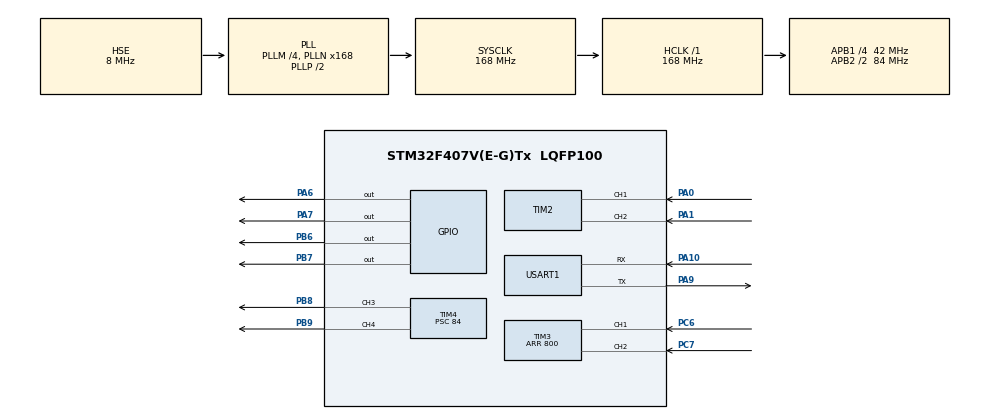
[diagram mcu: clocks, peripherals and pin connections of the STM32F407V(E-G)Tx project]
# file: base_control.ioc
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Dma.Request0=USART1_RX
Dma.Request1=USART1_TX
Dma.USART1_RX.0.Direction=DMA_PERIPH_TO_MEMORY
Dma.USART1_RX.0.FIFOMode=DMA_FIFOMODE_DISABLE
Dma.USART1_RX.0.Instance=DMA2_Stream2
Dma.USART1_RX.0.MemDataAlignment=DMA_MDATAALIGN_BYTE
Dma.USART1_RX.0.MemInc=DMA_MINC_ENABLE
Dma.USART1_RX.0.Mode=DMA_NORMAL
Dma.USART1_RX.0.PeriphDataAlignment=DMA_PDATAALIGN_BYTE
Dma.USART1_RX.0.PeriphInc=DMA_PINC_DISABLE
Dma.USART1_RX.0.Priority=DMA_PRIORITY_LOW
Dma.USART1_TX.1.Direction=DMA_MEMORY_TO_PERIPH
Dma.USART1_TX.1.FIFOMode=DMA_FIFOMODE_DISABLE
Dma.USART1_TX.1.Instance=DMA2_Stream7
Dma.USART1_TX.1.MemDataAlignment=DMA_MDATAALIGN_BYTE
Dma.USART1_TX.1.MemInc=DMA_MINC_ENABLE
Dma.USART1_TX.1.Mode=DMA_NORMAL
Dma.USART1_TX.1.PeriphDataAlignment=DMA_PDATAALIGN_BYTE
Dma.USART1_TX.1.PeriphInc=DMA_PINC_DISABLE
Dma.USART1_TX.1.Priority=DMA_PRIORITY_LOW
Mcu.Family=STM32F4
Mcu.Name=STM32F407V(E-G)Tx
Mcu.Package=LQFP100
NVIC.DMA2_Stream2_IRQn=true\:0\:0\:false\:false\:true\:false\:true
NVIC.DMA2_Stream7_IRQn=true\:0\:0\:false\:false\:true\:false\:true
NVIC.PriorityGroup=NVIC_PRIORITYGROUP_4
NVIC.TIM4_IRQn=true\:0\:0\:false\:false\:true\:true\:true
NVIC.TIM5_IRQn=true\:0\:0\:false\:false\:true\:true\:true
NVIC.USART1_IRQn=true\:0\:0\:false\:false\:true\:true\:true
PA0-WKUP.GPIO_PuPd=GPIO_PULLUP
PA0-WKUP.Signal=S_TIM2_CH1_ETR
PA1.GPIO_PuPd=GPIO_PULLUP
PA1.Signal=S_TIM2_CH2
PA10.Mode=Asynchronous
PA10.Signal=USART1_RX
PA6.GPIO_ModeDefaultOutputPP=GPIO_MODE_OUTPUT_PP
PA6.Signal=GPIO_Output
PA7.GPIO_ModeDefaultOutputPP=GPIO_MODE_OUTPUT_PP
PA7.PinState=GPIO_PIN_RESET
PA7.Signal=GPIO_Output
PA9.Mode=Asynchronous
PA9.Signal=USART1_TX
PB6.GPIO_ModeDefaultOutputPP=GPIO_MODE_OUTPUT_PP
PB6.PinState=GPIO_PIN_RESET
PB6.Signal=GPIO_Output
PB7.GPIO_ModeDefaultOutputPP=GPIO_MODE_OUTPUT_PP
PB7.PinState=GPIO_PIN_RESET
PB7.Signal=GPIO_Output
PB8.GPIO_ModeDefaultPP=GPIO_MODE_AF_PP
PB8.Signal=S_TIM4_CH3
PB9.GPIO_ModeDefaultPP=GPIO_MODE_AF_PP
PB9.Signal=S_TIM4_CH4
PC14-OSC32_IN.Mode=LSE-External-Oscillator
PC14-OSC32_IN.Signal=RCC_OSC32_IN
PC15-OSC32_OUT.Mode=LSE-External-Oscillator
PC15-OSC32_OUT.Signal=RCC_OSC32_OUT
PC6.GPIO_PuPd=GPIO_PULLUP
PC6.Signal=S_TIM3_CH1
PC7.GPIO_PuPd=GPIO_PULLUP
PC7.Signal=S_TIM3_CH2
PH0-OSC_IN.Mode=HSE-External-Oscillator
PH0-OSC_IN.Signal=RCC_OSC_IN
PH1-OSC_OUT.Mode=HSE-External-Oscillator
PH1-OSC_OUT.Signal=RCC_OSC_OUT
ProjectManager.HeapSize=0x200
ProjectManager.StackSize=0x400
ProjectManager.TargetToolchain=Makefile
RCC.48MHZClocksFreq_Value=84000000
RCC.AHBFreq_Value=168000000
RCC.APB1CLKDivider=RCC_HCLK_DIV4
RCC.APB1Freq_Value=42000000
RCC.APB1TimFreq_Value=84000000
RCC.APB2CLKDivider=RCC_HCLK_DIV2
RCC.APB2Freq_Value=84000000
RCC.APB2TimFreq_Value=168000000
RCC.CortexFreq_Value=168000000
RCC.HCLKFreq_Value=168000000
RCC.HSE_VALUE=8000000
RCC.HSI_VALUE=16000000
RCC.PLLM=4
RCC.PLLN=168
RCC.PLLSourceVirtual=RCC_PLLSOURCE_HSE
RCC.SYSCLKFreq_VALUE=168000000
RCC.SYSCLKSource=RCC_SYSCLKSOURCE_PLLCLK
RCC.VCOOutputFreq_Value=336000000
SH.S_TIM2_CH1_ETR.0=TIM2_CH1,Encoder_Interface
SH.S_TIM2_CH2.0=TIM2_CH2,Encoder_Interface
SH.S_TIM3_CH1.0=TIM3_CH1,Encoder_Interface
SH.S_TIM3_CH2.0=TIM3_CH2,Encoder_Interface
SH.S_TIM4_CH3.0=TIM4_CH3,PWM Generation3 CH3
SH.S_TIM4_CH4.0=TIM4_CH4,PWM Generation4 CH4
TIM2.EncoderMode=TIM_ENCODERMODE_TI12
TIM3.EncoderMode=TIM_ENCODERMODE_TI12
TIM3.IC1Filter=10
TIM3.IC2Filter=10
TIM3.Period=800
TIM4.AutoReloadPreload=TIM_AUTORELOAD_PRELOAD_DISABLE
TIM4.Channel-PWM\ Generation3\ CH3=TIM_CHANNEL_3
TIM4.Channel-PWM\ Generation4\ CH4=TIM_CHANNEL_4
TIM4.Period=100
TIM4.Prescaler=84
TIM4.Pulse-PWM\ Generation3\ CH3=0
TIM5.Period=100
TIM5.Prescaler=8400
USART1.VirtualMode=VM_ASYNC
VP_TIM4_VS_ClockSourceINT.Mode=Internal
VP_TIM5_VS_ClockSourceINT.Mode=Internal
board=custom

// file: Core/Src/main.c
/* USER CODE BEGIN tail */
/**
  ******************************************************************************
  * @file           : main.c
  * @brief          : Main program body
  ******************************************************************************
  * @attention
  *
  * <h2><center>&copy; Copyright (c) 2021 STMicroelectronics.
  * All rights reserved.</center></h2>
  *
  * This software component is licensed by ST under BSD 3-Clause license,
  * the "License"; You may not use this file except in compliance with the
  * License. You may obtain a copy of the License at:
  *                        opensource.org/licenses/BSD-3-Clause
  *
  ******************************************************************************
  */
/* USER CODE END tail */
#include "main.h"
#include "dma.h"
#include "tim.h"
#include "usart.h"
#include "gpio.h"

/* USER CODE BEGIN Includes */
#include <stdio.h>
#include <string.h>
#include "stm32f4xx_it.h"
#include "stm32f4xx_hal_def.h"
#include "PID.h"
#include "config.h"
#include "frame_resolve.h"
#include "retarget.h"
/* USER CODE END Includes */

/* USER CODE BEGIN PD */
#define FALSE   0
#define TRUE    1

#define DEBUG
/* USER CODE END PD */

/* USER CODE BEGIN PV */

// Arrays
uint8_t MSG[500] = "Init";
uint8_t linear_a[100] = "\n";
uint8_t angular_a[100] = "\n";
uint8_t rx_buffer[RX_BUFFER_SIZE];
uint8_t tx_buffer[TX_BUFFER_SIZE];
uint8_t data[8];
uint8_t prev_rx, last_rx;
// Cross processes values

#ifdef TEST_HARDWARE
volatile uint16_t cnt = 0;
volatile uint16_t last_cnt = 0;
volatile double enc_cnt = 0.0f;
volatile double last_enc_cnt = 0.0f;
#endif

volatile double right_set_speed = 0.0f; // RPM
volatile double left_set_speed = 0.0f; // RPM

#ifdef ENABLE_PID
/* PID Init Variables */

volatile uint32_t *RIGHT_DUTY_ADDR = &(TIM4->CCR3);
volatile uint32_t *RIGHT_ENCODER_ADDR = &(TIM3->CNT);

double right_pid_params[3] = {RIGHT_MOTOR_KP , RIGHT_MOTOR_KI, RIGHT_MOTOR_KD};
double left_pid_params[3] = {LEFT_MOTOR_KP , LEFT_MOTOR_KI, LEFT_MOTOR_KD};

// Custom typedef
MOTOR_TypeDef str_right_motor;
PID_TypeDef str_right_pid;
MOTOR_TypeDef str_left_motor;
PID_TypeDef str_left_pid;

#endif
/* Other definitions*/
uint8_t ready_flag = FALSE;
volatile uint8_t    vel_update_flag = FALSE;
float linear_vel;
float angular_vel;
float last_l_vel, last_a_vel;

/* USER CODE END PV */

void SystemClock_Config(void);
/* USER CODE BEGIN PFP */
void dma_rx_cplt(void);
void dma_rx_half_cplt(void);
/* USER CODE END PFP */

int main(void)
{

  /* MCU Configuration--------------------------------------------------------*/

  /* Reset of all peripherals, Initializes the Flash interface and the Systick. */
  HAL_Init();

  /* Configure the system clock */
  SystemClock_Config();

  /* Initialize all configured peripherals */
  MX_GPIO_Init();
  MX_DMA_Init();
  MX_USART1_UART_Init();
  MX_TIM4_Init();
  MX_TIM3_Init();
  MX_TIM5_Init();
  MX_TIM2_Init();
  /* USER CODE BEGIN 2 */
  RetargetInit(&huart1);
  HAL_UART_Receive_DMA(&huart1, rx_buffer, 1);

  #ifdef ENABLE_PID

  PID_MotorInit(&str_right_motor, &str_right_pid, GPIOB, GPIO_PIN_6 , GPIO_PIN_7, 100.0f, 10.0f, &(TIM3->CNT), &(TIM4->CCR3), right_pid_params);
  PID_MotorInit(&str_left_motor, &str_left_pid, GPIOA, GPIO_PIN_6 , GPIO_PIN_7, 100.0f, 10.0f, &(TIM2->CNT), &(TIM4->CCR4), left_pid_params);

  // Start Timer4 for PWM function on channel 3 and channel 4
  HAL_TIM_PWM_Start(&htim4, TIM_CHANNEL_3);
  HAL_TIM_PWM_Start(&htim4, TIM_CHANNEL_4);

  // Reset PWM Duty Cycle to zero on TIM 4 output channel 3 and channel 4
  __HAL_TIM_SET_COMPARE(&htim4, TIM_CHANNEL_3, 0);
  __HAL_TIM_SET_COMPARE(&htim4, TIM_CHANNEL_4, 0);

  // Start Timer3 for RIGHT Encoder Interfacing.
  HAL_TIM_Encoder_Start(&htim3, TIM_CHANNEL_ALL);
  // Start Timer2 for LEFT Encoder Interfacing.
  HAL_TIM_Encoder_Start(&htim2, TIM_CHANNEL_ALL);

  // Start Timer5 for sampling loop interrupt
  HAL_TIM_Base_Start_IT(&htim5);

  #endif

  // Last update time in tick
  uint32_t last_update = 0;
  /* USER CODE END 2 */

  /* Infinite loop */
  while (1)
  {

    /* USER CODE BEGIN 3 */

    if (vel_update_flag)
    {
        resolveRxFrame(rx_buffer, &linear_vel, &angular_vel);

        // Convert from M/S to RPM
        left_set_speed = ( linear_vel - angular_vel*ROBOT_WHEEL_BASE/2 ) * 60/ ( PI * ROBOT_WHEEL_DIAMETER );
        right_set_speed = ( linear_vel + angular_vel*ROBOT_WHEEL_BASE/2) * 60/ ( PI * ROBOT_WHEEL_DIAMETER );

        #ifdef DEBUG
        if (linear_vel != last_l_vel || angular_vel != last_a_vel)
        {
            sprintf((char *)MSG, "R: %.5f | L: %.5f \n", right_set_speed, left_set_speed);
            HAL_UART_Transmit_DMA(&huart1 ,MSG, sizeof(MSG));
        }
        // HAL_GPIO_TogglePin(GPIOA,GPIO_PIN_6);
        #endif

        last_a_vel = angular_vel;
        last_l_vel = linear_vel;
        vel_update_flag = FALSE;
        last_update = HAL_GetTick();
    }
    // else
    // {
    //     // If update timeout: 2 seconds
    //     // Reset speed to avoid overcontrol
    //     if ( (HAL_GetTick() - last_update > COMMAND_TIMEOUT_MS) && (angular_vel != 0 || linear_vel !=0) )
    //     {
    //         angular_vel = 0;
    //         linear_vel = 0;
    //         #ifdef DEBUG
    //         // printf("Vel : %.5f  | %.5f \n", linear_vel, angular_vel);
    //         // sprintf((char *)MSG, "L: %.5f | A: %.5f \n", linear_vel, angular_vel);
    //         // HAL_UART_Transmit_DMA(&huart1 ,MSG, sizeof(MSG));
    //         #endif
    //     }
    // }
    // HAL_Delay(100);
  }
  /* USER CODE END 3 */
}

void SystemClock_Config(void)
{
  RCC_OscInitTypeDef RCC_OscInitStruct = {0};
  RCC_ClkInitTypeDef RCC_ClkInitStruct = {0};

  /** Configure the main internal regulator output voltage
  */
  __HAL_RCC_PWR_CLK_ENABLE();
  __HAL_PWR_VOLTAGESCALING_CONFIG(PWR_REGULATOR_VOLTAGE_SCALE1);
  /** Initializes the RCC Oscillators according to the specified parameters
  * in the RCC_OscInitTypeDef structure.
  */
  RCC_OscInitStruct.OscillatorType = RCC_OSCILLATORTYPE_HSE;
  RCC_OscInitStruct.HSEState = RCC_HSE_ON;
  RCC_OscInitStruct.PLL.PLLState = RCC_PLL_ON;
  RCC_OscInitStruct.PLL.PLLSource = RCC_PLLSOURCE_HSE;
  RCC_OscInitStruct.PLL.PLLM = 4;
  RCC_OscInitStruct.PLL.PLLN = 168;
  RCC_OscInitStruct.PLL.PLLP = RCC_PLLP_DIV2;
  RCC_OscInitStruct.PLL.PLLQ = 4;
  if (HAL_RCC_OscConfig(&RCC_OscInitStruct) != HAL_OK)
  {
    Error_Handler();
  }
  /** Initializes the CPU, AHB and APB buses clocks
  */
  RCC_ClkInitStruct.ClockType = RCC_CLOCKTYPE_HCLK|RCC_CLOCKTYPE_SYSCLK
                              |RCC_CLOCKTYPE_PCLK1|RCC_CLOCKTYPE_PCLK2;
  RCC_ClkInitStruct.SYSCLKSource = RCC_SYSCLKSOURCE_PLLCLK;
  RCC_ClkInitStruct.AHBCLKDivider = RCC_SYSCLK_DIV1;
  RCC_ClkInitStruct.APB1CLKDivider = RCC_HCLK_DIV4;
  RCC_ClkInitStruct.APB2CLKDivider = RCC_HCLK_DIV2;

  if (HAL_RCC_ClockConfig(&RCC_ClkInitStruct, FLASH_LATENCY_5) != HAL_OK)
  {
    Error_Handler();
  }
}

/* USER CODE BEGIN 4 */

void map_speed(float a_vel, float l_vel, double *r_set_rpm, double *r_set_lpm)
{
    __NOP();
}

void HAL_TIM_PeriodElapsedCallback(TIM_HandleTypeDef *htim)
{
  if (htim == &htim5)
  {
    #ifdef TEST_HARDWARE
    // Do sampling and calculate stuff
    cnt++;
    if (cnt == 100)
    {

        enc_cnt = TIM3->CNT;
        HAL_GPIO_TogglePin(GPIOA, GPIO_PIN_7);
        if (enc_cnt!=last_enc_cnt)
        {
          sprintf((char *)period, "-> %d pulses/sec\n", (enc_cnt-last_enc_cnt));
          HAL_UART_Transmit_DMA(&huart1, period, sizeof(period));
        }
        cnt = 0;
        last_enc_cnt = enc_cnt;

    }
    #endif

    #ifdef ENABLE_PID
    /* =================
    * MAIN PID CLOSE-LOOP SAMPLING AND COMPUTE
    *  =================== */
    // RIGHT MOTOR PI CONTROL
    PID_PreProcess(&str_right_motor, right_set_speed);
    PID_ComputeOutput(&str_right_motor);
    PID_SetDuty(&str_right_motor );
    PID_PreProcess(&str_left_motor, left_set_speed);
    PID_ComputeOutput(&str_left_motor);
    PID_SetDuty(&str_left_motor );
    #else
    __NOP();
    #endif
  }
}

void HAL_UART_RxCpltCallback(UART_HandleTypeDef *huart)
{

    if (ready_flag == TRUE)
    {
        vel_update_flag = TRUE;
        ready_flag = FALSE;
        HAL_UART_Receive_DMA(&huart1, rx_buffer, 1);
    }
    else
    {
        if (rx_buffer[0] == 0x16 && prev_rx == 0x16 && last_rx == 0x16) // SYN
        {
            ready_flag = TRUE;
            memset(rx_buffer, 0, RX_BUFFER_SIZE);
            HAL_UART_Receive_DMA(&huart1, rx_buffer, RX_BUFFER_SIZE);
        }
        else
        {
            HAL_UART_Receive_DMA(&huart1, rx_buffer, 1);
        }
    }
    last_rx = prev_rx;
    prev_rx = rx_buffer[0];
}

void dma_rx_cplt()
{
    __NOP();
}

void dma_rx_half_cplt()
{
    __NOP();
}

/* USER CODE END 4 */

void Error_Handler(void)
{
  __disable_irq();
  while (1)
  {
  }
}

/************************ (C) COPYRIGHT STMicroelectronics *****END OF FILE****/
